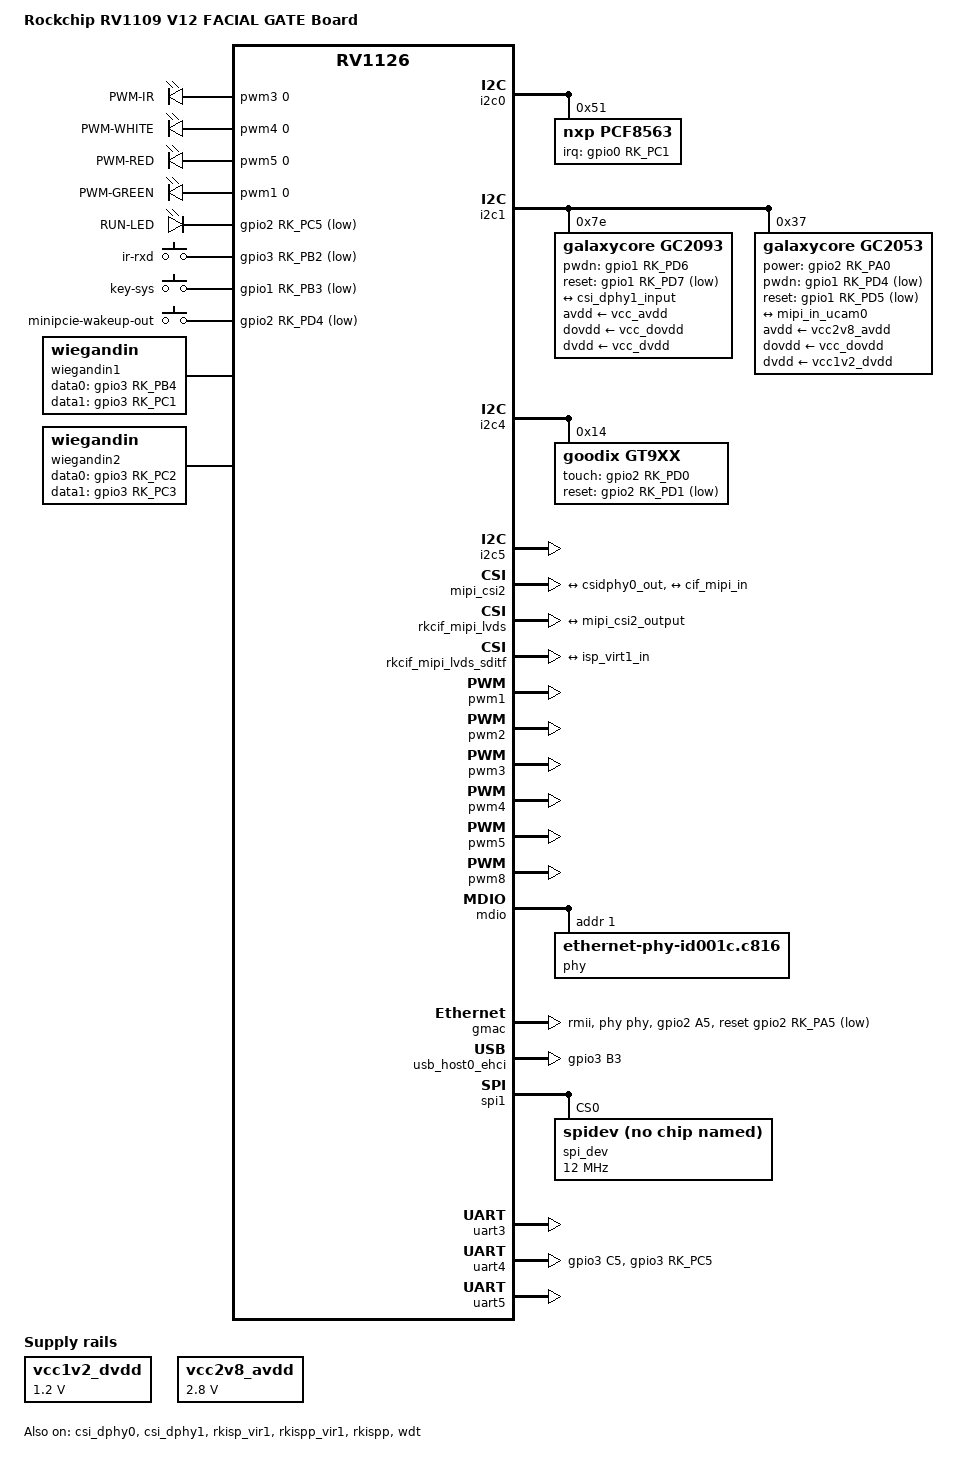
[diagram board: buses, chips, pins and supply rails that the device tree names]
// SPDX-License-Identifier: (GPL-2.0+ OR MIT)
/*
 * Copyright (c) 2020 Rockchip Electronics Co., Ltd.
 */
/dts-v1/;
#include "rv1126.dtsi"
#include "rv1126-evb-v12.dtsi"
/ {
	model = "Rockchip RV1109 V12 FACIAL GATE Board";
	compatible = "rockchip,rv1126-evb-ddr3-v12-facial-gate", "rockchip,rv1126";

	chosen {
		bootargs = "earlycon=uart8250,mmio32,0xff570000 console=ttyFIQ0 root=PARTUUID=614e0000-0000 rootfstype=ext4 rootwait snd_aloop.index=7";
	};

	/delete-node/ wireless-bluetooth;

	pwmleds {
		compatible = "pwm-leds";

		//IR补光灯
		pwmi_ir {
			label = "PWM-IR";
			pwms = <&pwm3 0 25000 0>;
			max-brightness = <100>;
			linux,default-trigger = "default-on";
		};

		//灯板：白
		pwmi_white {
			label = "PWM-WHITE";
			pwms = <&pwm4 0 25000 0>;
			max-brightness = <100>;
		};

		//灯板：红
		pwmi_red {
			label = "PWM-RED";
			pwms = <&pwm5 0 25000 0>;
			max-brightness = <100>;
		};

		//灯板：绿
		pwmi_green {
			label = "PWM-GREEN";
			pwms = <&pwm1 0 25000 0>;
			max-brightness = <100>;
		};
	};

	gpioleds {
		pinctrl-names = "default";
		pinctrl-0 = <&run_io>;
		compatible = "gpio-leds";

		run_led {
			label = "RUN-LED";
			gpios = <&gpio2 RK_PC5 GPIO_ACTIVE_LOW>;
			linux,default-trigger = "heartbeat";
		};
	};

	vcc1v2_dvdd: vcc1v2-dvdd {
		compatible = "regulator-fixed";
		regulator-name = "vcc1v2_dvdd";
		regulator-min-microvolt = <1200000>;
		regulator-max-microvolt = <1200000>;
	};

	vcc2v8_avdd: vcc2v8-avdd {
		compatible = "regulator-fixed";
		regulator-name = "vcc2v8_avdd";
		regulator-min-microvolt = <2800000>;
		regulator-max-microvolt = <2800000>;
	};

	gpio-keys {
		pinctrl-names = "default";
		pinctrl-0 = <&ir_rxd &key_sys &minipcie_wakeup_out>;
		compatible = "gpio-keys";
		autorepeat;

		ir-rxd {
			label = "ir-rxd";
			linux,code = <KEY_WAKEUP>;
			gpios = <&gpio3 RK_PB2 GPIO_ACTIVE_LOW>;
			wakeup-source;
		};
		key-sys {
			label = "key-sys";
			linux,code = <KEY_SYSRQ>;
			gpios = <&gpio1 RK_PB3 GPIO_ACTIVE_LOW>;
			wakeup-source;
		};
		minipcie-wakeup-out {
			label = "minipcie-wakeup-out";
			linux,code = <KEY_WAKEUP>;
			gpios = <&gpio2 RK_PD4 GPIO_ACTIVE_LOW>;
			wakeup-source;
		};
	};

	wiegandin1: wiegandin1 {
		status = "okay";
		pinctrl-names = "default";
		pinctrl-0 = <&wg_a_d0 &wg_a_d1>;
		compatible = "wiegandin";

		wiegand,data0 = <&gpio3 RK_PB4 IRQ_TYPE_LEVEL_HIGH>;
		wiegand,data1 = <&gpio3 RK_PC1 IRQ_TYPE_LEVEL_HIGH>;

		wiegand,data_length = <26>;
		wiegand,pulse_width = <500>; // 500 us
		wiegand,pulse_intval = <1850>; // 1850 us

		wiegand,device_name = "wiegand_in1";
	};

	wiegandin2: wiegandin2 {
		status = "okay";
		pinctrl-names = "default";
		pinctrl-0 = <&wg_b_d0 &wg_b_d1>;
		compatible = "wiegandin";

		wiegand,data0 = <&gpio3 RK_PC2 IRQ_TYPE_LEVEL_HIGH>;
		wiegand,data1 = <&gpio3 RK_PC3 IRQ_TYPE_LEVEL_HIGH>;

		wiegand,data_length = <26>;
		wiegand,pulse_width = <500>; // 500 us
		wiegand,pulse_intval = <1850>; // 1850 us

		wiegand,device_name = "wiegand_in2";
	};
};

&csi_dphy0 {
	status = "okay";
	ports {
		port@0 {
			mipi_in_ucam0: endpoint@1 {
				remote-endpoint = <&ucam_out0>;
				data-lanes = <1 2>;
			};
		};
		port@1 {
			csidphy0_out: endpoint@0 {
				remote-endpoint = <&mipi_csi2_input>;
				data-lanes = <1 2>;
			};
		};
	};
};

&csi_dphy1 {
	status = "okay";
	ports {
		port@0 {
			csi_dphy1_input: endpoint@1 {
				remote-endpoint = <&ucam_out1>;
				data-lanes = <1 2>;
			};
		};
		port@1 {
			csi_dphy1_output: endpoint@0 {
				remote-endpoint = <&isp_in>;
				data-lanes = <1 2>;
			};
		};
	};
};

&i2c0 {
	pcf8563: pcf8563@51 {
		compatible = "nxp,pcf8563";
		reg = <0x51>;
		interrupt-parent = <&gpio0>;
		interrupts = <RK_PC1 IRQ_TYPE_EDGE_FALLING>;
		pinctrl-names = "default";
		pinctrl-0 = <&rtc_int>;
		#clock-cells = <0>;
	};
};

&i2c1 {
	/delete-node/ ar0230@10;
	/delete-node/ ov4689@36;
	/delete-node/ os04a10@36;
	gc2093: gc2093@7e {
		compatible = "galaxycore,gc2093";
		reg = <0x7e>;
		clocks = <&cru CLK_MIPICSI_OUT>;
		clock-names = "xvclk";
		power-domains = <&power RV1126_PD_VI>;
		pinctrl-names = "default";
		pinctrl-0 = <&mipicsi_clk1>;
		avdd-supply = <&vcc_avdd>;
		dovdd-supply = <&vcc_dovdd>;
		dvdd-supply = <&vcc_dvdd>;
		pwdn-gpios = <&gpio1 RK_PD6 GPIO_ACTIVE_HIGH>; //24脚
		reset-gpios = <&gpio1 RK_PD7 GPIO_ACTIVE_LOW>; //25脚
		rockchip,camera-module-index = <1>;
		rockchip,camera-module-facing = "front";
		rockchip,camera-module-name = "YT-RV1109-2-V1";
		rockchip,camera-module-lens-name = "40IR-2MP-F20";
		//ir-cut = <&cam_ircut0>;
		port {
			ucam_out1: endpoint {
				remote-endpoint = <&csi_dphy1_input>;
				data-lanes = <1 2>;
			};
		};
	};

	gc2053: gc2053@37 { //IR
		compatible = "galaxycore,gc2053";
		reg = <0x37>;

		clocks = <&cru CLK_MIPICSI_OUT>;
		clock-names = "xvclk";

		power-domains = <&power RV1126_PD_VI>;
		pinctrl-names = "rockchip,camera_default";
		pinctrl-0 = <&mipicsi_clk0>;
		power-gpios = <&gpio2 RK_PA0 GPIO_ACTIVE_HIGH>; //cam-en
		pwdn-gpios = <&gpio1 RK_PD4 GPIO_ACTIVE_LOW>;  //3脚
		reset-gpios = <&gpio1 RK_PD5 GPIO_ACTIVE_LOW>; //4脚

		avdd-supply = <&vcc2v8_avdd>;
		dovdd-supply = <&vcc_dovdd>;
		dvdd-supply = <&vcc1v2_dvdd>;

		rockchip,camera-module-index = <0>;
		rockchip,camera-module-facing = "front";
		rockchip,camera-module-name = "YT-RV1109-2-V1";
		rockchip,camera-module-lens-name = "40IR-2MP-F20";
		port {
			ucam_out0: endpoint {
				remote-endpoint = <&mipi_in_ucam0>;
				data-lanes = <1 2>;
			};
		};
	};
};

&i2c4 {
	status = "okay";

	gt9xx@14 {
		pinctrl-names = "default";
		pinctrl-0 = <&rst_touch_face &int_touch_face>;
		compatible = "goodix,gt9xx";
		reg = <0x14>;
		touch-gpio = <&gpio2 RK_PD0 IRQ_TYPE_LEVEL_LOW>;
		reset-gpio = <&gpio2 RK_PD1 GPIO_ACTIVE_LOW>;
		max-x = <800>;
		max-y = <1280>;
		tp-size = <911>;
		//tp-supply = <&vcc18_lcd_n>;
		status = "okay";
	};
};

&i2c5 {
	status = "okay";
	pinctrl-0 = <&i2c5m1_xfer>;
	/delete-node/ gt1x@14;

	gt9xx@14 {
		pinctrl-names = "default";
		pinctrl-0 = <&rst_touch_easy &int_touch_easy>;
		compatible = "goodix,gt9xx";
		reg = <0x14>;
		touch-gpio = <&gpio3 RK_PC1 IRQ_TYPE_LEVEL_LOW>;
		reset-gpio = <&gpio3 RK_PC3 GPIO_ACTIVE_LOW>;
		max-x = <720>;
		max-y = <1280>;
		tp-size = <911>;
		//tp-supply = <&vcc18_lcd_n>;
		status = "disabled";
	};
};

&cam_ircut0 {
	status = "disabled";
};

/* isp cma buffer don't fiddle with it, dual camera(1920 * 1080) need 92M buffer */
&isp_reserved {
	size = <0x5c00000>;
};

&mipi_csi2 {
	status = "okay";
	ports {
		port@0 {
			mipi_csi2_input: endpoint@1 {
				remote-endpoint = <&csidphy0_out>;
				data-lanes = <1 2>;
			};
		};

		port@1 {
			mipi_csi2_output: endpoint@0 {
				remote-endpoint = <&cif_mipi_in>;
				data-lanes = <1 2>;
			};
		};
	};
};

&rk809 {
	regulators {
		vcc_dvdd: LDO_REG6 {
			regulator-min-microvolt = <1200000>;
			regulator-max-microvolt = <1200000>;
		};

		vcc_avdd: LDO_REG7 {
			regulator-min-microvolt = <3300000>;
			regulator-max-microvolt = <3300000>;
		};
	};
};

&rkcif_mipi_lvds {
	status = "okay";
	port {
		cif_mipi_in: endpoint {
			remote-endpoint = <&mipi_csi2_output>;
			data-lanes = <1 2>;
		};
	};
};

&rkcif_mipi_lvds_sditf {
	status = "okay";

	port {
		cif_sditf: endpoint {
			remote-endpoint = <&isp_virt1_in>;
			data-lanes = <1 2 3 4>;
		};
	};
};

&rkisp_vir0 {
	ports {
		port@0 {
			isp_in: endpoint@0 {
				remote-endpoint = <&csi_dphy1_output>;
			};
		};
	};
};

&rkisp_vir1 {
	status = "okay";
	ports {
		port@0 {
			reg = <0>;
			#address-cells = <1>;
			#size-cells = <0>;

			isp_virt1_in: endpoint@0 {
				reg = <0>;
				remote-endpoint = <&cif_sditf>;
			};
		};
	};
};

&rkispp_vir1 {
	status = "okay";
};

&rkispp {
	status = "okay";
	/* the max input w h and fps of mulit sensor */
	max-input = <1920 1080 30>;
};

//GREEN补光灯
&pwm1 {
	pinctrl-0 = <&pwm1m1_pins>;
	status = "okay";
};

&pwm2 {
	pinctrl-0 = <&pwm2m1_pins>;
	status = "okay";
};

//IR补光灯
&pwm3 {
	pinctrl-0 = <&pwm3m1_pins_pull_down>;
	status = "okay";
};

//灯板：白
&pwm4 {
	pinctrl-0 = <&pwm4m1_pins>;
	status = "okay";
};

//灯板：红
&pwm5 {
	pinctrl-0 = <&pwm5m1_pins>;
	status = "okay";
};

//显示背光
&pwm8 {
	status = "okay";
	pinctrl-0 = <&pwm8m1_pins>;
};

&backlight {
	pwms = <&pwm8 0 25000 0>;
};

&vcc18_lcd_n {
	/delete-property/ gpio;
	/delete-property/ enable-active-high;
	regulator-always-on;
};

&mdio {
	/delete-node/ phy@0;
	phy: phy@1 {
		compatible = "ethernet-phy-id001c.c816";
		reg = <0x1>;
	};
};

&gmac {
	phy-mode = "rmii";
	clock_in_out = "output";

	snps,reset-gpio = <&gpio2 RK_PA5 GPIO_ACTIVE_LOW>;
	snps,reset-active-low;
	snps,reset-delays-us = <0 50000 10000>;

	assigned-clocks = <&cru CLK_GMAC_SRC>, <&cru CLK_GMAC_TX_RX>;
	assigned-clock-parents = <&cru CLK_GMAC_SRC_M1>, <&cru RMII_MODE_CLK>;
	assigned-clock-rates = <50000000>;

	pinctrl-names = "default";
	pinctrl-0 = <&rmiim1_pins &gmac_clk_m1_drv_level0_pins &phy_rst>;

	phy-handle = <&phy>;
	status = "okay";

	/delete-property/ tx_delay;
	/delete-property/ rx_delay;
};

&usb_host0_ehci {
	pinctrl-names = "default";
	pinctrl-0 = <&usbhub_rst>;
};

&sdio {
	status = "disabled";
};

&spi1 {
	status = "okay";

	spi_dev@0 {
		compatible = "rockchip,spidev";
		reg = <0>;
		spi-max-frequency = <12000000>;
		spi-lsb-first;
	};
};

&uart0 { //for di
	status = "disabled";
};

&uart3 { //485A
	pinctrl-names = "default";
	pinctrl-0 = <&uart3m0_xfer &uart3m0_rtsn>;
	status = "okay";
};

&uart4 { //485B
	pinctrl-names = "default";
	pinctrl-0 = <&uart4m0_xfer &uart4_rts_gpio>;
	gpios = <&gpio3 RK_PC5 GPIO_ACTIVE_HIGH>;
	status = "okay";
};

&uart5 { //temperature
	pinctrl-names = "default";
	pinctrl-0 = <&uart5m0_xfer>;
	status = "okay";
};

&pmu_io_domains {
	vccio6-supply = <&vcc_3v3>;
};

&wdt {
	status = "okay";
};

&pinctrl {
	pinctrl-names = "default";
	pinctrl-0 = <&gc_rst &gc_pwdn &cam_en &amp_shdn &relay_out_a &relay_out_b &minipcie_rst &minipcie_disable &pwr12_en &di_a &di_b &di_c &di_d>;

	mipi-dsi {
		/omit-if-no-ref/
		rst_lcd: rst-lcd {
			rockchip,pins = <2 RK_PD2 0 &pcfg_pull_up>;
		};
	};
	touch-screen {
		/omit-if-no-ref/
		rst_touch_easy: rst-touch-easy {
			rockchip,pins =
				<3 RK_PC3 RK_FUNC_GPIO &pcfg_pull_up>;
		};
		/omit-if-no-ref/
		int_touch_easy: int-touch-easy {
			rockchip,pins =
				<3 RK_PC1 RK_FUNC_GPIO &pcfg_pull_up>;
		};

		/omit-if-no-ref/
		rst_touch_face: rst-touch-face {
			rockchip,pins =
				<2 RK_PD1 RK_FUNC_GPIO &pcfg_pull_up>;
		};
		/omit-if-no-ref/
		int_touch_face: int-touch-face {
			rockchip,pins =
				<2 RK_PD0 RK_FUNC_GPIO &pcfg_pull_up>;
		};
	};
	camera {
		/omit-if-no-ref/
		gc_rst: gc-rst {
			rockchip,pins =
				<1 RK_PD5 RK_FUNC_GPIO &pcfg_output_high>;
		};
		/omit-if-no-ref/
		gc_pwdn: gc-pwdn {
			rockchip,pins =
				<1 RK_PD4 RK_FUNC_GPIO &pcfg_output_low>;
		};
		/omit-if-no-ref/
		cam_en: cam-en {
			rockchip,pins =
				<2 RK_PA0 RK_FUNC_GPIO &pcfg_output_high>;
		};
	};
	ethernet {
		/omit-if-no-ref/
		phy_rst: phy-rst {
			rockchip,pins =
				<2 RK_PA5 RK_FUNC_GPIO &pcfg_output_low>;
		};
	};
	usb_host {
		/omit-if-no-ref/
		usbhub_rst: usbhub-rst {
			rockchip,pins = <3 RK_PB3 RK_FUNC_GPIO &pcfg_output_high>;
		};
	};
	sound_card {
		/omit-if-no-ref/
		amp_shdn: amp-shdn {
			rockchip,pins = <2 RK_PD5 RK_FUNC_GPIO &pcfg_output_high>;
		};
	};
	gpio_leds {
		/omit-if-no-ref/
		run_io: run-io {
			rockchip,pins = <2 RK_PC5 RK_FUNC_GPIO &pcfg_pull_none>;
		};
	};
	gpio_relay {
		/omit-if-no-ref/
		relay_out_a: relay-out-a {
			rockchip,pins = <2 RK_PC7 RK_FUNC_GPIO &pcfg_output_low>;
		};
		relay_out_b: relay-out-b {
			rockchip,pins = <2 RK_PD3 RK_FUNC_GPIO &pcfg_output_low>;
		};
	};
	gpio_wg {
		/omit-if-no-ref/
		wg_a_d0: wg-a-d0 {
			rockchip,pins = <3 RK_PB4 RK_FUNC_GPIO &pcfg_pull_none>;
		};
		/omit-if-no-ref/
		wg_a_d1: wg-a-d1 {
			rockchip,pins = <3 RK_PC1 RK_FUNC_GPIO &pcfg_pull_none>;
		};
		/omit-if-no-ref/
		wg_b_d0: wg-b-d0 {
			rockchip,pins = <3 RK_PC2 RK_FUNC_GPIO &pcfg_pull_none>;
		};
		/omit-if-no-ref/
		wg_b_d1: wg-b-d1 {
			rockchip,pins = <3 RK_PC3 RK_FUNC_GPIO &pcfg_pull_none>;
		};
	};
	gpio_di {
		/omit-if-no-ref/
		di_a: di-a {
			rockchip,pins = <1 RK_PC0 RK_FUNC_GPIO &pcfg_pull_none>;
		};
		/omit-if-no-ref/
		di_b: di-b {
			rockchip,pins = <1 RK_PC1 RK_FUNC_GPIO &pcfg_pull_none>;
		};
		/omit-if-no-ref/
		di_c: di-c {
			rockchip,pins = <1 RK_PC2 RK_FUNC_GPIO &pcfg_pull_none>;
		};
		/omit-if-no-ref/
		di_d: di-d {
			rockchip,pins = <1 RK_PC3 RK_FUNC_GPIO &pcfg_pull_none>;
		};
	};
	minipcie {
		/omit-if-no-ref/
		minipcie_rst: minipcie-rst {
			rockchip,pins = <2 RK_PD6 RK_FUNC_GPIO &pcfg_output_high>;
		};
		/omit-if-no-ref/
		minipcie_disable: minipcie-disable {
			rockchip,pins = <2 RK_PA4 RK_FUNC_GPIO &pcfg_output_high>;
		};
		/omit-if-no-ref/
		minipcie_wakeup_out: minipcie-wakeup-out {
			rockchip,pins = <2 RK_PD4 RK_FUNC_GPIO &pcfg_pull_none>;
		};
	};
	rtc {
		/omit-if-no-ref/
		rtc_int: rtc-int {
			rockchip,pins = <0 RK_PC1 RK_FUNC_GPIO &pcfg_pull_up>;
		};
	};
	misc {
		/omit-if-no-ref/
		pwr12_en: pwr12-en {
			rockchip,pins = <2 RK_PB3 RK_FUNC_GPIO &pcfg_output_high>;
		};
		/omit-if-no-ref/
		ir_rxd: ir-rxd {
			rockchip,pins = <3 RK_PB2 RK_FUNC_GPIO &pcfg_pull_none>;
		};
		/omit-if-no-ref/
		key_sys: key-sys {
			rockchip,pins = <1 RK_PB3 RK_FUNC_GPIO &pcfg_pull_none>;
		};
	};
	rs485 {
		/omit-if-no-ref/
		uart4_rts_gpio: uart4-rts-gpio {
			rockchip,pins = <3 RK_PC5 RK_FUNC_GPIO &pcfg_pull_none>;
		};
	};
};

#include "lmo-display.dtsi"

&dsi {
	panel@0 {
		reset-gpios = <&gpio2 RK_PD2 GPIO_ACTIVE_LOW>;
	};
};
